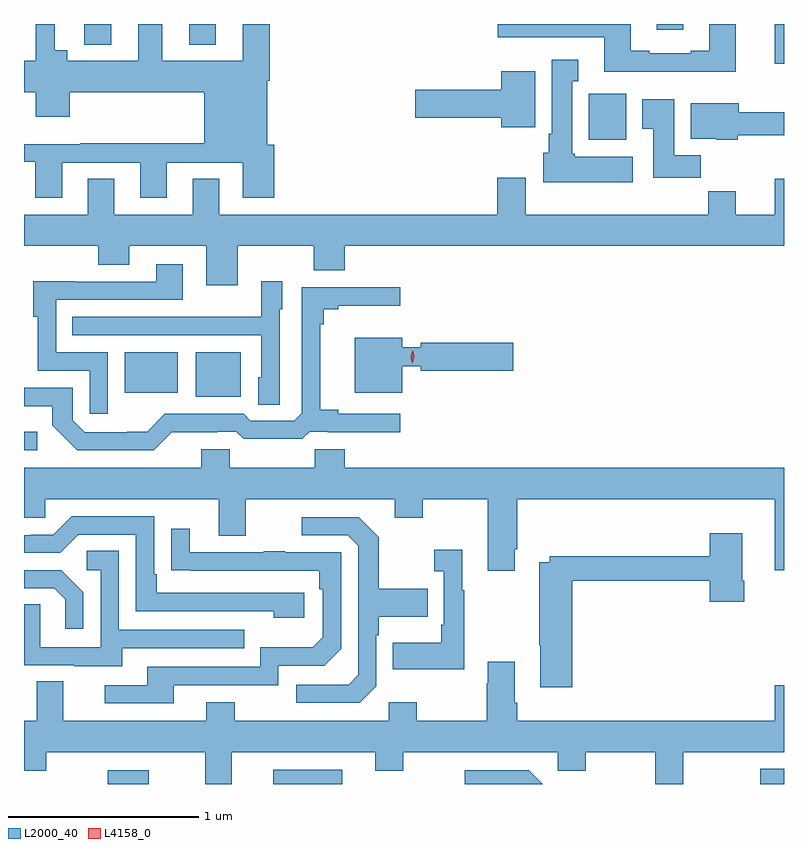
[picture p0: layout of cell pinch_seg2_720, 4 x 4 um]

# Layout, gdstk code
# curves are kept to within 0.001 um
import gdstk
lib = gdstk.Library(unit=1e-6, precision=1e-09)
def R(c, l, rs):  # rectangles x0, y0, x1, y1
    for r in rs: c.add(gdstk.rectangle(r[:2], r[2:], *l))
def P(c, l, *ps):  # polygons
    for p in ps: c.add(gdstk.Polygon(p, *l))
L2000_40 = (2000, 40)
L4158_0 = (4158, 0)

pinch_seg2_720 = lib.new_cell('pinch_seg2_720')
R(pinch_seg2_720, L2000_40, [(820.839,659.456,821.053,659.529), (821.709,659.456,822.073,659.532), (824.273,659.456,824.397,659.536), (820.397,661.212,820.468,661.309), (821.3,661.493,821.539,661.729), (820.928,661.514,821.206,661.729), (823.37,662.846,823.567,663.088), (824.348,663.246,824.397,663.456), (820.715,663.347,820.855,663.456), (821.267,663.347,821.407,663.456), (823.727,663.426,823.867,663.456)])
P(pinch_seg2_720, L2000_40, [(824.143,663.456),(824.003,663.456),(824.003,663.316),(823.907,663.316),(823.907,663.303),(823.687,663.303),(823.687,663.316),(823.591,663.316),(823.591,663.456),(822.891,663.456),(822.891,663.387),(823.451,663.387),(823.451,663.206),(824.143,663.206)],
  [(820.597,662.727),(821.009,662.727),(821.009,662.541),(821.149,662.541),(821.149,662.727),(821.549,662.727),(821.549,662.541),(821.714,662.541),(821.714,662.82),(821.677,662.82),(821.677,663.158),(821.69,663.158),(821.69,663.456),(821.549,663.456),(821.549,663.262),(821.125,663.262),(821.125,663.456),(820.997,663.456),(820.997,663.262),(820.624,663.262),(820.624,663.319),(820.558,663.319),(820.558,663.456),(820.46,663.456),(820.46,663.262),(820.397,663.262),(820.397,663.098),(820.459,663.098),(820.459,662.967),(820.637,662.967),(820.637,663.098),(821.345,663.098),(821.345,662.828),(820.693,662.828),(820.693,662.824),(820.397,662.824),(820.397,662.73),(820.457,662.73),(820.457,662.541),(820.597,662.541)],
  [(823.6,662.758),(823.296,662.758),(823.296,662.772),(823.282,662.772),(823.282,663.155),(823.315,663.155),(823.315,663.268),(823.175,663.268),(823.175,662.878),(823.16,662.878),(823.16,662.778),(823.13,662.778),(823.13,662.624),(823.6,662.624)],
  [(823.087,663.208),(822.908,663.208),(822.908,663.11),(822.456,663.11),(822.456,662.963),(822.908,662.963),(822.908,662.912),(823.087,662.912)],
  [(823.958,662.764),(823.819,662.764),(823.819,663.061),(823.652,663.061),(823.652,662.905),(823.709,662.905),(823.709,662.646),(823.958,662.646)],
  [(824.154,662.87),(824.397,662.87),(824.397,662.992),(824.158,662.992),(824.158,663.04),(823.907,663.04),(823.907,662.852),(824.04,662.852),(824.04,662.846),(824.154,662.846)],
  [(821.521,662.288),(821.921,662.288),(821.921,662.16),(822.085,662.16),(822.085,662.288),(824.397,662.288),(824.397,662.641),(824.348,662.641),(824.348,662.452),(824.143,662.452),(824.143,662.576),(823.999,662.576),(823.999,662.452),(823.039,662.452),(823.039,662.647),(822.887,662.647),(822.887,662.452),(821.425,662.452),(821.425,662.642),(821.285,662.642),(821.285,662.452),(820.873,662.452),(820.873,662.642),(820.733,662.642),(820.733,662.452),(820.397,662.452),(820.397,662.288),(820.787,662.288),(820.787,662.189),(820.951,662.189),(820.951,662.288),(821.357,662.288),(821.357,662.082),(821.521,662.082)],
  [(820.839,661.728),(820.566,661.728),(820.566,662.004),(821.233,662.004),(821.233,662.191),(821.093,662.191),(821.093,662.1),(820.663,662.1),(820.663,662.102),(820.445,662.102),(820.445,661.914),(820.47,661.914),(820.47,661.632),(820.743,661.632),(820.743,661.404),(820.839,661.404)],
  [(821.742,661.956),(821.755,661.956),(821.755,662.101),(821.646,662.101),(821.646,661.915),(821.329,661.915),(821.329,661.914),(820.651,661.914),(820.651,661.818),(821.646,661.818),(821.646,661.596),(821.63,661.596),(821.63,661.453),(821.742,661.453)],
  [(821.174,661.307),(821.414,661.307),(821.414,661.311),(821.514,661.311),(821.554,661.272),(821.861,661.272),(821.901,661.311),(821.995,661.311),(821.995,661.307),(822.376,661.307),(822.376,661.404),(822.052,661.404),(822.052,661.427),(821.957,661.427),(821.957,661.877),(821.975,661.877),(821.975,661.954),(822.052,661.954),(822.052,661.973),(822.376,661.973),(822.376,662.07),(821.859,662.07),(821.859,661.407),(821.82,661.368),(821.589,661.368),(821.553,661.404),(821.139,661.404),(821.045,661.31),(820.94,661.31),(820.94,661.308),(820.716,661.308),(820.653,661.371),(820.653,661.542),(820.397,661.542),(820.397,661.445),(820.546,661.445),(820.546,661.343),(820.676,661.212),(821.079,661.212)],
  [(822.388,661.654),(822.486,661.654),(822.486,661.631),(822.973,661.631),(822.973,661.778),(822.486,661.778),(822.486,661.755),(822.388,661.755),(822.388,661.804),(822.137,661.804),(822.137,661.514),(822.388,661.514)],
  [(822.979,660.691),(822.992,660.691),(822.992,660.956),(824.348,660.956),(824.348,660.582),(824.397,660.582),(824.397,661.12),(822.086,661.12),(822.086,661.218),(821.926,661.218),(821.926,661.12),(821.481,661.12),(821.481,661.218),(821.33,661.218),(821.33,661.12),(820.397,661.12),(820.397,660.858),(820.509,660.858),(820.509,660.956),(821.423,660.956),(821.423,660.762),(821.563,660.762),(821.563,660.956),(822.347,660.956),(822.347,660.857),(822.495,660.857),(822.495,660.956),(822.839,660.956),(822.839,660.579),(822.979,660.579)],
  [(821.872,660.462),(821.095,660.462),(821.095,660.559),(821.082,660.559),(821.082,660.864),(820.647,660.864),(820.551,660.768),(820.433,660.768),(820.433,660.765),(820.397,660.765),(820.397,660.672),(820.587,660.672),(820.683,660.768),(820.986,660.768),(820.986,660.366),(821.711,660.366),(821.711,660.332),(821.872,660.332)],
  [(822.252,659.97),(822.252,660.239),(822.265,660.239),(822.265,660.335),(822.521,660.335),(822.521,660.483),(822.265,660.483),(822.265,660.755),(822.159,660.861),(821.859,660.861),(821.859,660.765),(822.102,660.765),(822.156,660.711),(822.156,660.03),(822.105,659.979),(821.829,659.979),(821.829,659.883),(822.165,659.883)],
  [(821.185,659.976),(821.736,659.976),(821.736,660.078),(821.976,660.078),(822.066,660.168),(822.066,660.675),(821.771,660.675),(821.771,660.68),(821.659,660.68),(821.659,660.675),(821.269,660.675),(821.269,660.799),(821.173,660.799),(821.173,660.58),(821.95,660.579),(821.95,660.482),(821.97,660.482),(821.97,660.228),(821.917,660.175),(821.64,660.175),(821.64,660.072),(821.045,660.072),(821.045,659.976),(820.821,659.976),(820.821,659.88),(821.185,659.88)],
  [(823.283,660.526),(824.006,660.526),(824.006,660.414),(824.189,660.414),(824.189,660.526),(824.176,660.526),(824.176,660.775),(824.006,660.775),(824.006,660.655),(823.164,660.655),(823.164,660.622),(823.108,660.622),(823.108,660.187),(823.115,660.187),(823.115,659.964),(823.283,659.964)],
  [(822.715,660.475),(822.703,660.475),(822.703,660.688),(822.555,660.688),(822.555,660.575),(822.606,660.575),(822.606,660.295),(822.594,660.295),(822.594,660.199),(822.337,660.199),(822.337,660.059),(822.715,660.059)],
  [(820.915,660.171),(821.555,660.171),(821.555,660.267),(820.896,660.267),(820.896,660.683),(820.728,660.683),(820.728,660.582),(820.8,660.582),(820.8,660.177),(820.482,660.177),(820.482,660.401),(820.397,660.401),(820.397,660.081),(820.661,660.081),(820.661,660.077),(820.915,660.077)],
  [(820.71,660.466),(820.594,660.582),(820.397,660.582),(820.397,660.486),(820.556,660.486),(820.613,660.429),(820.613,660.273),(820.71,660.273)],
  [(821.491,659.624),(822.245,659.624),(822.245,659.525),(822.393,659.525),(822.393,659.624),(823.206,659.624),(823.206,659.525),(823.353,659.525),(823.353,659.624),(823.72,659.624),(823.72,659.456),(823.867,659.456),(823.867,659.624),(824.397,659.624),(824.397,659.977),(824.348,659.977),(824.348,659.788),(822.992,659.788),(822.992,659.884),(822.979,659.884),(822.979,660.1),(822.839,660.1),(822.839,659.987),(822.832,659.987),(822.832,659.788),(822.465,659.788),(822.465,659.887),(822.318,659.887),(822.318,659.788),(821.505,659.788),(821.505,659.887),(821.357,659.887),(821.357,659.788),(820.603,659.788),(820.603,659.996),(820.463,659.996),(820.463,659.788),(820.397,659.788),(820.397,659.525),(820.515,659.525),(820.515,659.624),(821.351,659.624),(821.351,659.456),(821.491,659.456)],
  [(823.053,659.529),(822.717,659.529),(822.717,659.456),(823.126,659.456)])
P(pinch_seg2_720, L4158_0, [(822.441,661.67),(822.441,661.67),(822.432,661.705),(822.443,661.74),(822.444,661.74),(822.444,661.74),(822.452,661.705),(822.441,661.67)])

lib.write_gds('pinch_seg2_720.gds')
